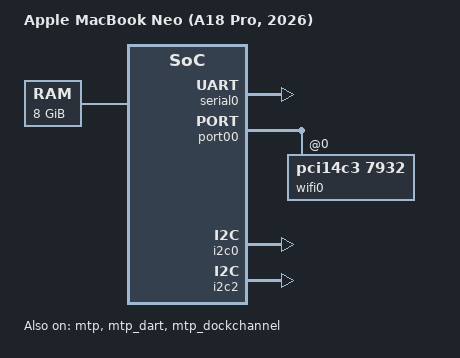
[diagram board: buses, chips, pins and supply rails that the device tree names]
// SPDX-License-Identifier: GPL-2.0+ OR MIT
/*
 * Apple MacBook Neo (A18 Pro, 2026)
 *
 * target-type: J700
 *
 * Copyright The Asahi Linux Contributors
 */

/dts-v1/;

#include "t8140.dtsi"

/ {
	compatible = "apple,j700", "apple,t8140", "apple,arm-platform";
	model = "Apple MacBook Neo (A18 Pro, 2026)";

	aliases {
		wifi0 = &wifi0;
		serial0 = &serial0;
		keyboard = &keyboard;
		atcphy0 = &atcphy0;
		//atcphy1 = &atcphy1;
	};

	chosen {
		#address-cells = <2>;
		#size-cells = <2>;
		ranges;
		stdout-path = "serial0";

		framebuffer0: framebuffer@0 {
			compatible = "apple,simple-framebuffer", "simple-framebuffer";
			reg = <0 0 0 0>; /* To be filled by loader */
			/* Format properties will be added by loader */
			status = "disabled";
		};
	};

	reserved-memory {
		#address-cells = <2>;
		#size-cells = <2>;
		ranges;
		/* To be filled by loader */
	};

	memory@800000000 {
		device_type = "memory";
		reg = <0x100 0 0x2 0>; /* To be filled by loader */
	};
};

&serial0 {
	status = "okay";
};

&port00 {
	wifi0: wifi@0,0 {
		compatible = "pci14c3,7932";
		reg = <0 0 0 0 0>;
		/* The bootloader supplies the factory address from the ADT. */
		local-mac-address = [00 00 00 00 00 00];
	};
};

&mtp {
	status = "okay";
};
&mtp_mbox {
	status = "okay";
};
&mtp_dart {
	status = "okay";
};
&mtp_dockchannel {
	status = "okay";
};
&mtp_hid {
	keyboard: keyboard {
		hid-country-code = <0>;
		apple,keyboard-layout-id = <0>;
	};
	stm {
	};
};
&i2c0 {
	status = "okay";
};
&i2c2 {
	status = "okay";
};
